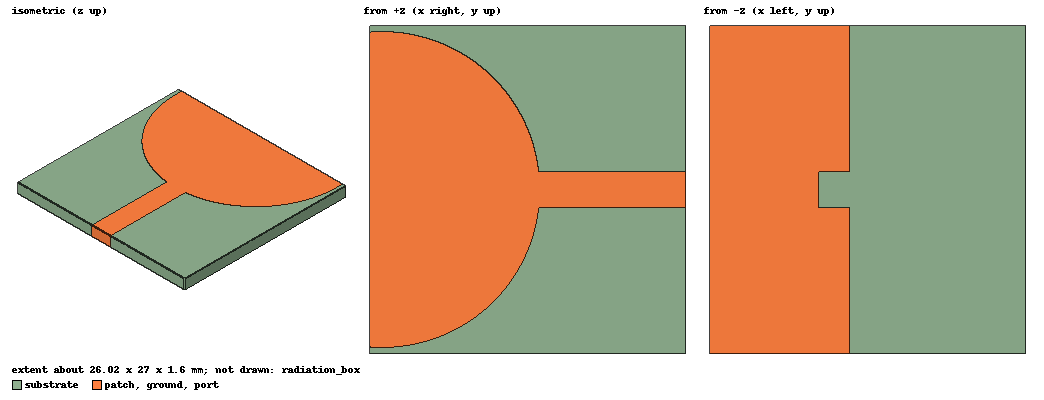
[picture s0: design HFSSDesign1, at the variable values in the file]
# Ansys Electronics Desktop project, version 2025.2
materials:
  vacuum: permittivity=1
  FR4_epoxy: permittivity=4.4 dielectric_loss_tangent=0.02
  air: permittivity=1.0006 permeability=1.0000004

design HFSSDesign1 (HFSS, HFSS Terminal Network, model units mm)
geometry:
  substrate [FR4_epoxy] = box(corner=(-13mm, -13.5mm, 0mm), size=(26mm, 27mm, 1.6mm))
  ground = rectangle(corner=(1.5mm, -13.5mm, 0mm), x_size=11.5mm, y_size=27mm)
  patch = circle(normal=Z, centre=(-12mm, 0mm, 1.6mm), radius=13mm)
  cut_circle = rectangle(corner=(-13mm, 13.5mm, 1.6mm), x_size=-13mm, y_size=-27.5mm)
  patch.subtract(cut_circle)
  feed = rectangle(corner=(0mm, -1.5mm, 1.6mm), x_size=13mm, y_size=3mm)
  patch.unite(feed)
  radiation_box [air] = box(corner=(-20mm, -20mm, -20mm), size=(40mm, 40mm, 40mm))
  port = rectangle(corner=(13mm, -1.5mm, 1.6mm), y_size=3mm, z_size=-1.6mm)
  cut_feed = rectangle(corner=(0mm, -1.5mm, 0mm), x_size=4mm, y_size=3mm)
  ground.subtract(cut_feed)
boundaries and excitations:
  PerfE1: Perfect E Objects=[ground, patch]
  Rad1: Radiation Objects=radiation_box
  1: Lumped Port Objects=port LumpedPortType=Modal Modes{Mode1{IntLine{(13, 0, 0) -> (13, 0, 1.6)} CharImp=Zpi RenormImp=50ohm}} Impedance=50ohm
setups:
  Setup1: HfssDriven Frequency=5GHz MaxDeltaS=0.02 MaximumPasses=6 MinimumPasses=1 MinimumConvergedPasses=1 PercentRefinement=30 BasisOrder=1 PortAccuracy=2 DrivenSolverType="Direct Solver"
    sweep Sweep: 1GHz to 15GHz, 401 points; Type=Interpolating InterpTolerance=0.5 InterpMaxSolns=250 PassivityErrorTolerance=0.0001
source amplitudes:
  1:1: 1V 0deg
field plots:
  Mag_Jsurf1: Jsurf over patch.face(at (0, 0, 1.6)) on Setup1 : LastAdaptive at Freq=5GHz Phase=0deg
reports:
  S Parameter Plot1: dB(S(1,1)) vs Freq on Setup1 : Sweep; markers m1 at 3.52GHz, m2 at 14.51GHz
  VSWR Plot1: VSWR(1) vs Freq on Setup1 : Sweep
